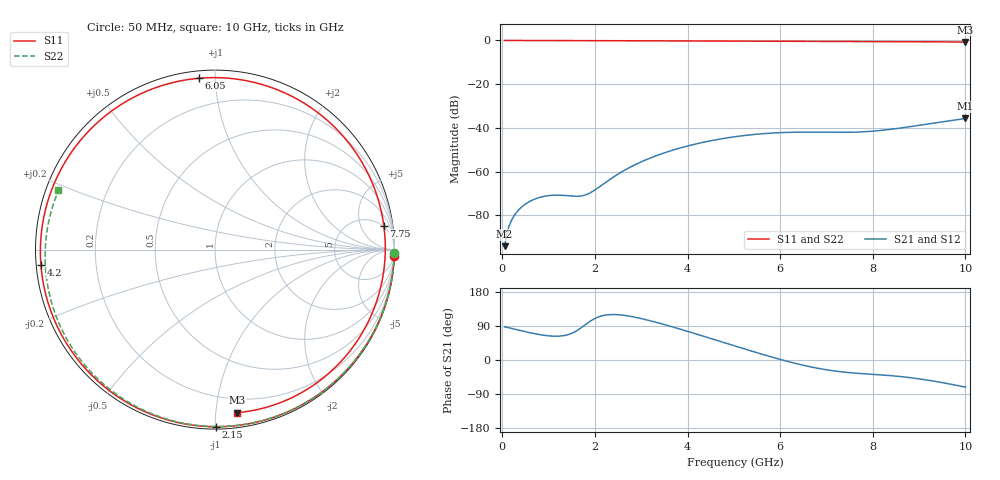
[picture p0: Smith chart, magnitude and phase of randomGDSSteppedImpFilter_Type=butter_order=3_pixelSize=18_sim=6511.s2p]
! freq	dB(S11)	phase(S11)	dB(S12)	phase(S12)
!  dB(S21)	phase(S21)	dB(S22)	phase(S22)
!S-par simulation data
#  GHz  S  DB  R 50
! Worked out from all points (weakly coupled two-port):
!   200 points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, 50 MHz to 10 GHz, reference 50 ohm
!   highest |S21| = -35.69 dB at 10 GHz (marker M1); lowest = -94.1 dB at 50 MHz (marker M2)
!   lowest |S11| = -0.8 dB at 10 GHz (marker M3), VSWR 23.11, Z = 5 - j57.1 ohm
!   |S11| at or under -10 dB: nowhere
!   |S22| runs from -0.6 to 0.0 dB; largest |S21 - S12| = 0
!   S11 on the Smith chart (normalised r, x): 50 MHz: 1, -53; 2.15 GHz: 0.01, -1.00; 4.2 GHz: 0.01, -0.04; 6.05 GHz: 0.04, +0.91; 7.75 GHz: 5, +12; 10 GHz: 0.10, -1.14
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0.05  -0.01 -2.2  -94.13 87.4  -94.13 87.4  -0.00 -1.2
0.25  -0.01 -10.7  -80.37 81.9  -80.37 81.9  -0.01 -5.8
0.5  -0.02 -21.3  -74.85 74.6  -74.85 74.6  -0.01 -11.5
0.85  -0.04 -36.1  -71.57 66.1  -71.57 66.1  -0.02 -19.5
1.3  -0.07 -54.9  -70.85 63.9  -70.85 63.9  -0.04 -29.7
1.75  -0.09 -73.4  -70.96 89.1  -70.96 89.1  -0.05 -39.7
2.15  -0.11 -89.8  -66.18 116.5  -66.18 116.5  -0.06 -48.4
2.75  -0.14 -114.2  -58.12 115.6  -58.12 115.6  -0.08 -61.3
3.4  -0.18 -140.9  -52.16 96.9  -52.16 96.9  -0.10 -74.8
3.8  -0.20 -157.7  -49.45 82.9  -49.45 82.9  -0.11 -82.8
4.2  -0.23 -175.0  -47.26 68.2  -47.26 68.2  -0.13 -90.7
4.65  -0.26 164.7  -45.31 51.2  -45.31 51.2  -0.14 -99.5
5.05  -0.29 145.9  -43.97 36.0  -43.97 36.0  -0.16 -107.1
5.6  -0.34 118.7  -42.71 15.6  -42.71 15.6  -0.19 -117.4
6.05  -0.36 95.5  -42.14 -0.1  -42.14 -0.1  -0.22 -125.7
6.35  -0.38 79.7  -41.97 -9.6  -41.97 -9.6  -0.24 -131.2
6.7  -0.40 61.2  -41.94 -19.2  -41.94 -19.2  -0.26 -137.5
7.25  -0.42 32.7  -42.04 -30.2  -42.04 -30.2  -0.31 -147.6
7.75  -0.45 8.1  -41.85 -35.8  -41.85 -35.8  -0.35 -156.7
8.35  -0.49 -19.2  -40.76 -40.9  -40.76 -40.9  -0.41 -167.9
9.15  -0.59 -51.7  -38.35 -52.5  -38.35 -52.5  -0.50 176.6
10  -0.75 -82.2  -35.69 -71.6  -35.69 -71.6  -0.61 159.3
